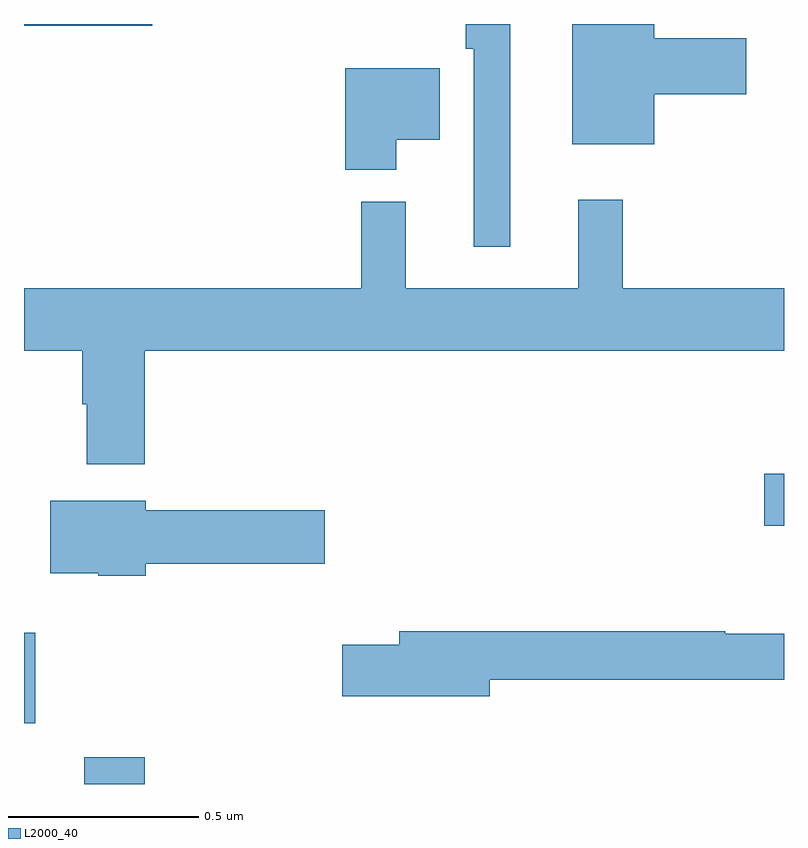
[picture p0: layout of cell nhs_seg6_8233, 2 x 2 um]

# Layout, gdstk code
import gdstk
lib = gdstk.Library(unit=1e-6, precision=1e-09)
def R(c, l, rs):  # rectangles x0, y0, x1, y1
    for r in rs: c.add(gdstk.rectangle(r[:2], r[2:], *l))
def P(c, l, *ps):  # polygons
    for p in ps: c.add(gdstk.Polygon(p, *l))
L2000_40 = (2000, 40)

nhs_seg6_8233 = lib.new_cell('nhs_seg6_8233')
R(nhs_seg6_8233, L2000_40, [(218.158,975.5,218.318,975.571), (218,975.66,218.03,975.898), (219.948,976.18,220,976.317), (218,977.495,218.338,977.5)])
P(nhs_seg6_8233, L2000_40, [(219.28,977.5),(219.163,977.5),(219.163,977.435),(219.183,977.435),(219.183,976.914),(219.28,976.914)],
  [(219.658,977.315),(219.901,977.315),(219.901,977.462),(219.658,977.462),(219.658,977.5),(219.443,977.5),(219.443,977.183),(219.658,977.183)],
  [(218.98,977.195),(219.094,977.195),(219.094,977.383),(218.846,977.383),(218.846,977.117),(218.98,977.117)],
  [(218.318,976.64),(220,976.64),(220,976.804),(219.575,976.804),(219.575,977.038),(219.458,977.038),(219.458,976.804),(219.005,976.804),(219.005,977.032),(218.887,977.032),(218.887,976.804),(218,976.804),(218,976.64),(218.153,976.64),(218.153,976.499),(218.165,976.499),(218.165,976.341),(218.318,976.341)],
  [(218.32,976.079),(218.791,976.079),(218.791,976.221),(218.32,976.221),(218.32,976.246),(218.069,976.246),(218.069,976.055),(218.195,976.055),(218.195,976.048),(218.32,976.048)],
  [(219.226,975.774),(220,975.774),(220,975.895),(219.845,975.895),(219.845,975.902),(218.987,975.902),(218.987,975.866),(218.838,975.866),(218.838,975.731),(219.226,975.731)])

lib.write_gds('nhs_seg6_8233.gds')
